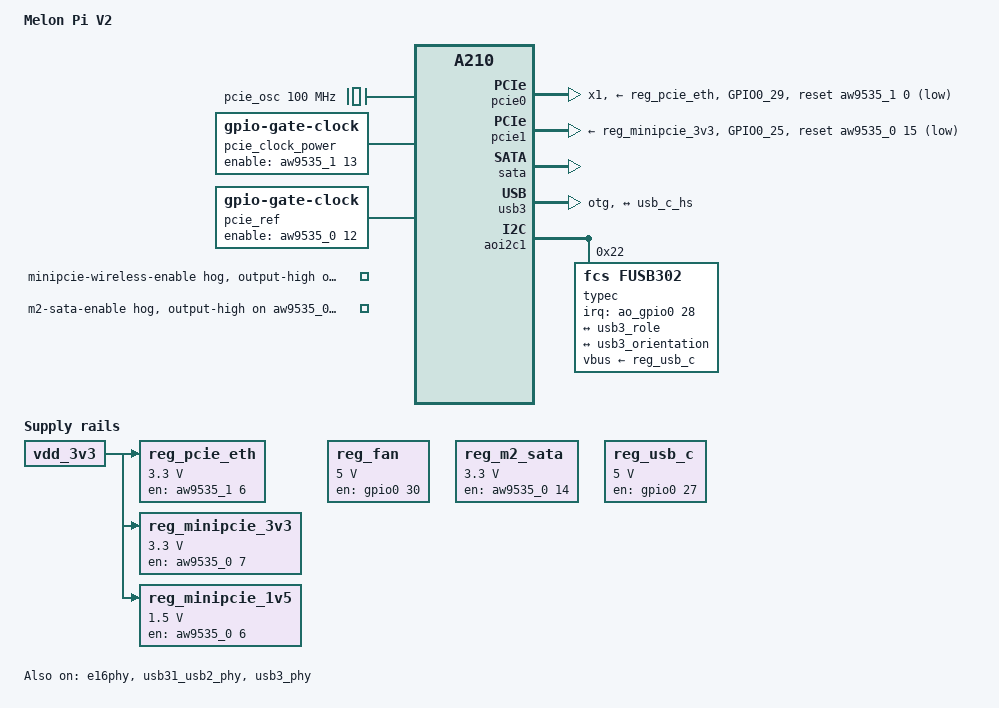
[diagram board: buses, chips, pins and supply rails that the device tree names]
// SPDX-License-Identifier: (GPL-2.0-only OR BSD-2-Clause)
/dts-v1/;

#include "a210-melonpi-common.dtsi"
#include <dt-bindings/usb/pd.h>

/ {
	model = "Melon Pi V2";
	compatible = "zhihe,a210-melonpi-v2", "zhihe,a210-som",
		     "zhihe,a210";

	/* GPIO0_30 enables the TPS259261 supply for the two-pin fan. */
	reg_fan: regulator-fan {
		compatible = "regulator-fixed";
		pinctrl-names = "default";
		pinctrl-0 = <&fan_enable_pins>;
		regulator-name = "fan-5v";
		regulator-min-microvolt = <5000000>;
		regulator-max-microvolt = <5000000>;
		gpio = <&gpio0 30 GPIO_ACTIVE_HIGH>;
		enable-active-high;
		regulator-boot-on;
		regulator-always-on;
	};

	reg_m2_sata: regulator-m2-sata {
		compatible = "regulator-fixed";
		regulator-name = "m2-sata-3v3";
		regulator-min-microvolt = <3300000>;
		regulator-max-microvolt = <3300000>;
		gpio = <&aw9535_0 14 GPIO_ACTIVE_HIGH>;
		enable-active-high;
		startup-delay-us = <10000>;
	};

	reg_usb_c: regulator-usb-c {
		compatible = "regulator-fixed";
		regulator-name = "usb-c-vbus";
		regulator-min-microvolt = <5000000>;
		regulator-max-microvolt = <5000000>;
		gpio = <&gpio0 27 GPIO_ACTIVE_HIGH>;
		enable-active-high;
	};

	pcie_osc: pcie-oscillator {
		compatible = "fixed-clock";
		#clock-cells = <0>;
		clock-frequency = <100000000>;
	};

	pcie_clock_power: pcie-clock-power {
		compatible = "gpio-gate-clock";
		#clock-cells = <0>;
		clocks = <&pcie_osc>;
		enable-gpios = <&aw9535_1 13 GPIO_ACTIVE_HIGH>;
	};

	pcie_ref: pcie-reference-clock {
		compatible = "gpio-gate-clock";
		#clock-cells = <0>;
		clocks = <&pcie_clock_power>;
		enable-gpios = <&aw9535_0 12 GPIO_ACTIVE_HIGH>;
	};

	reg_pcie_eth: regulator-pcie-ethernet {
		compatible = "regulator-fixed";
		vin-supply = <&vdd_3v3>;
		regulator-name = "pcie-ethernet-3v3";
		regulator-min-microvolt = <3300000>;
		regulator-max-microvolt = <3300000>;
		gpio = <&aw9535_1 6 GPIO_ACTIVE_HIGH>;
		enable-active-high;
		startup-delay-us = <100000>;
	};

	reg_minipcie_3v3: regulator-minipcie-3v3 {
		compatible = "regulator-fixed";
		vin-supply = <&vdd_3v3>;
		regulator-name = "minipcie-3v3";
		regulator-min-microvolt = <3300000>;
		regulator-max-microvolt = <3300000>;
		gpio = <&aw9535_0 7 GPIO_ACTIVE_HIGH>;
		enable-active-high;
		startup-delay-us = <100000>;
	};

	reg_minipcie_1v5: regulator-minipcie-1v5 {
		compatible = "regulator-fixed";
		vin-supply = <&vdd_3v3>;
		regulator-name = "minipcie-1v5";
		regulator-min-microvolt = <1500000>;
		regulator-max-microvolt = <1500000>;
		gpio = <&aw9535_0 6 GPIO_ACTIVE_HIGH>;
		enable-active-high;
		startup-delay-us = <100000>;
	};
};

&e16phy {
	clocks = <&clk_pcie E16PHY_PCLK_EN>, <&pcie_ref>;
	clock-names = "apb", "ref";
	data-lanes = <1 2 3 4>;
	status = "okay";
};

&pcie0 {
	pinctrl-names = "default";
	pinctrl-0 = <&pcie0_clkreq_pins>;
	num-lanes = <1>;
	reset-gpios = <&aw9535_1 0 GPIO_ACTIVE_LOW>;
	vpcie3v3-supply = <&reg_pcie_eth>;
	status = "okay";
};

&pcie1 {
	pinctrl-names = "default";
	pinctrl-0 = <&pcie1_clkreq_pins>;
	reset-gpios = <&aw9535_0 15 GPIO_ACTIVE_LOW>;
	vpcie3v3-supply = <&reg_minipcie_3v3>;
	vpcie1v5-supply = <&reg_minipcie_1v5>;
	status = "okay";
};

&sata {
	ports-implemented = <1>;
	status = "okay";
};

&sata0 {
	target-supply = <&reg_m2_sata>;
};

&sata1 {
	status = "disabled";
};

&aw9535_0 {
	minipcie-wireless-enable-hog {
		gpio-hog;
		gpios = <8 GPIO_ACTIVE_HIGH>;
		output-high;
		line-name = "minipcie-wireless-enable";
	};

	m2-sata-enable-hog {
		gpio-hog;
		gpios = <9 GPIO_ACTIVE_HIGH>;
		output-high;
		line-name = "m2-sata-enable";
	};
};

&uart5 {
	uart-has-rtscts;
};

&peri1_padctrl {
	pcie0_clkreq_pins: pcie0-clkreq-0 {
		clkreq-pins {
			pins = "GPIO0_29";
			function = "pcie_x4";
			bias-disable;
			drive-strength = <7>;
			input-enable;
			input-schmitt-enable;
			slew-rate = <0>;
		};
	};

	pcie1_clkreq_pins: pcie1-clkreq-0 {
		clkreq-pins {
			pins = "GPIO0_25";
			function = "pcie_x1";
			bias-disable;
			drive-strength = <7>;
			input-enable;
			input-schmitt-enable;
			slew-rate = <0>;
		};
	};
};

&peri1_padctrl {
	fan_enable_pins: fan-enable-0 {
		gpio-pins {
			pins = "GPIO0_30";
			bias-disable;
			drive-strength = <7>;
			input-disable;
		};
	};
};

&usb31_usb2_phy {
	status = "okay";
};

&usb3_phy {
	orientation-switch;
	status = "okay";

	port {
		usb3_orientation: endpoint {
			remote-endpoint = <&usb_c_ss>;
		};
	};
};

&usb3 {
	dr_mode = "otg";
	usb-role-switch;
	status = "okay";

	port {
		usb3_role: endpoint {
			remote-endpoint = <&usb_c_hs>;
		};
	};
};

&aoi2c1 {
	typec@22 {
		compatible = "fcs,fusb302";
		reg = <0x22>;
		interrupt-parent = <&ao_gpio0>;
		interrupts = <28 IRQ_TYPE_LEVEL_LOW>;
		pinctrl-names = "default";
		pinctrl-0 = <&usb_c_irq_pins>;
		vbus-supply = <&reg_usb_c>;

		connector {
			compatible = "usb-c-connector";
			label = "USB-C";
			data-role = "dual";
			power-role = "dual";
			try-power-role = "sink";
			source-pdos = <PDO_FIXED(5000, 3000, PDO_FIXED_USB_COMM)>;
			sink-pdos = <PDO_FIXED(5000, 1000, PDO_FIXED_USB_COMM)>;
			op-sink-microwatt = <1000000>;

			ports {
				#address-cells = <1>;
				#size-cells = <0>;

				port@0 {
					reg = <0>;
					usb_c_hs: endpoint {
						remote-endpoint = <&usb3_role>;
					};
				};

				port@1 {
					reg = <1>;
					usb_c_ss: endpoint {
						remote-endpoint = <&usb3_orientation>;
					};
				};
			};
		};
	};
};

&aon_padctrl {
	usb_c_irq_pins: usb-c-irq-0 {
		irq-pins {
			pins = "AOGPIO0_28";
			bias-pull-up;
			input-enable;
			input-schmitt-enable;
		};
	};
};
